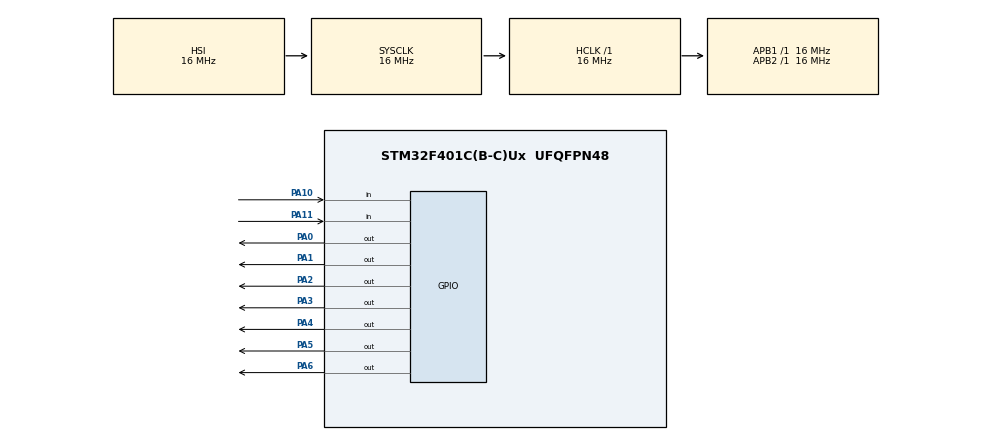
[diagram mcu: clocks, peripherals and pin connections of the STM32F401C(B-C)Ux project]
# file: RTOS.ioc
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FREERTOS.Tasks01=defaultTask,25,128,StartDefaultTask,Default,NULL,Dynamic,NULL,NULL;myTask02,32,128,StartTask02,Default,NULL,Dynamic,NULL,NULL
Mcu.Family=STM32F4
Mcu.Name=STM32F401C(B-C)Ux
Mcu.Package=UFQFPN48
NVIC.PriorityGroup=NVIC_PRIORITYGROUP_4
PA0-WKUP.GPIO_PuPd=GPIO_PULLDOWN
PA0-WKUP.Signal=GPIO_Output
PA1.GPIO_PuPd=GPIO_PULLDOWN
PA1.Signal=GPIO_Output
PA10.GPIO_PuPd=GPIO_PULLDOWN
PA10.Signal=GPIO_Input
PA11.GPIO_PuPd=GPIO_PULLDOWN
PA11.Signal=GPIO_Input
PA2.GPIO_PuPd=GPIO_PULLUP
PA2.Signal=GPIO_Output
PA3.GPIO_PuPd=GPIO_PULLDOWN
PA3.Signal=GPIO_Output
PA4.GPIO_PuPd=GPIO_PULLDOWN
PA4.Signal=GPIO_Output
PA5.GPIO_PuPd=GPIO_PULLDOWN
PA5.Signal=GPIO_Output
PA6.GPIO_PuPd=GPIO_PULLDOWN
PA6.Signal=GPIO_Output
ProjectManager.HeapSize=0x200
ProjectManager.StackSize=0x400
ProjectManager.TargetToolchain=STM32CubeIDE
RCC.AHBFreq_Value=16000000
RCC.APB1Freq_Value=16000000
RCC.APB2Freq_Value=16000000
RCC.CortexFreq_Value=16000000
RCC.HSE_VALUE=25000000
RCC.HSI_VALUE=16000000
RCC.LSE_VALUE=32768
RCC.SYSCLKFreq_VALUE=16000000
RCC.VCOOutputFreq_Value=192000000
VP_FREERTOS_VS_CMSIS_V2.Mode=CMSIS_V2
board=custom

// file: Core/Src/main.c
/* USER CODE BEGIN Header */
/**
  ******************************************************************************
  * @file           : main.c
  * @brief          : Main program body
  ******************************************************************************
  * @attention
  *
  * Copyright (c) 2025 STMicroelectronics.
  * All rights reserved.
  *
  * This software is licensed under terms that can be found in the LICENSE file
  * in the root directory of this software component.
  * If no LICENSE file comes with this software, it is provided AS-IS.
  *
  ******************************************************************************
  */
/* USER CODE END Header */
#include "main.h"
#include "cmsis_os.h"

/* Definitions for defaultTask */
osThreadId_t defaultTaskHandle;
const osThreadAttr_t defaultTask_attributes = {
  .name = "defaultTask",
  .stack_size = 128 * 4,
  .priority = (osPriority_t) osPriorityNormal1,
};
/* Definitions for myTask02 */
osThreadId_t myTask02Handle;
const osThreadAttr_t myTask02_attributes = {
  .name = "myTask02",
  .stack_size = 128 * 4,
  .priority = (osPriority_t) osPriorityAboveNormal,
};

void SystemClock_Config(void);
static void MX_GPIO_Init(void);
void StartDefaultTask(void *argument);
void StartTask02(void *argument);

int main(void)
{

  /* MCU Configuration--------------------------------------------------------*/

  /* Reset of all peripherals, Initializes the Flash interface and the Systick. */
  HAL_Init();

  /* Configure the system clock */
  SystemClock_Config();

  /* Initialize all configured peripherals */
  MX_GPIO_Init();

  /* Init scheduler */
  osKernelInitialize();

  /* Create the thread(s) */
  /* creation of defaultTask */
  defaultTaskHandle = osThreadNew(StartDefaultTask, NULL, &defaultTask_attributes);

  /* creation of myTask02 */
  myTask02Handle = osThreadNew(StartTask02, NULL, &myTask02_attributes);

  /* Start scheduler */
  osKernelStart();

  /* We should never get here as control is now taken by the scheduler */

  /* Infinite loop */
  while (1)
  {

  }
}

void SystemClock_Config(void)
{
  RCC_OscInitTypeDef RCC_OscInitStruct = {0};
  RCC_ClkInitTypeDef RCC_ClkInitStruct = {0};

  /** Configure the main internal regulator output voltage
  */
  __HAL_RCC_PWR_CLK_ENABLE();
  __HAL_PWR_VOLTAGESCALING_CONFIG(PWR_REGULATOR_VOLTAGE_SCALE2);

  /** Initializes the RCC Oscillators according to the specified parameters
  * in the RCC_OscInitTypeDef structure.
  */
  RCC_OscInitStruct.OscillatorType = RCC_OSCILLATORTYPE_HSI;
  RCC_OscInitStruct.HSIState = RCC_HSI_ON;
  RCC_OscInitStruct.HSICalibrationValue = RCC_HSICALIBRATION_DEFAULT;
  RCC_OscInitStruct.PLL.PLLState = RCC_PLL_NONE;
  if (HAL_RCC_OscConfig(&RCC_OscInitStruct) != HAL_OK)
  {
    Error_Handler();
  }

  /** Initializes the CPU, AHB and APB buses clocks
  */
  RCC_ClkInitStruct.ClockType = RCC_CLOCKTYPE_HCLK|RCC_CLOCKTYPE_SYSCLK
                              |RCC_CLOCKTYPE_PCLK1|RCC_CLOCKTYPE_PCLK2;
  RCC_ClkInitStruct.SYSCLKSource = RCC_SYSCLKSOURCE_HSI;
  RCC_ClkInitStruct.AHBCLKDivider = RCC_SYSCLK_DIV1;
  RCC_ClkInitStruct.APB1CLKDivider = RCC_HCLK_DIV1;
  RCC_ClkInitStruct.APB2CLKDivider = RCC_HCLK_DIV1;

  if (HAL_RCC_ClockConfig(&RCC_ClkInitStruct, FLASH_LATENCY_0) != HAL_OK)
  {
    Error_Handler();
  }
}

static void MX_GPIO_Init(void)
{
  GPIO_InitTypeDef GPIO_InitStruct = {0};

  /* GPIO Ports Clock Enable */
  __HAL_RCC_GPIOA_CLK_ENABLE();

  /*Configure GPIO pin Output Level */
  HAL_GPIO_WritePin(GPIOA, GPIO_PIN_0|GPIO_PIN_1|GPIO_PIN_2|GPIO_PIN_3
                          |GPIO_PIN_4|GPIO_PIN_5|GPIO_PIN_6, GPIO_PIN_RESET);

  /*Configure GPIO pins : PA0 PA1 PA3 PA4
                           PA5 PA6 */
  GPIO_InitStruct.Pin = GPIO_PIN_0|GPIO_PIN_1|GPIO_PIN_3|GPIO_PIN_4
                          |GPIO_PIN_5|GPIO_PIN_6;
  GPIO_InitStruct.Mode = GPIO_MODE_OUTPUT_PP;
  GPIO_InitStruct.Pull = GPIO_PULLDOWN;
  GPIO_InitStruct.Speed = GPIO_SPEED_FREQ_LOW;
  HAL_GPIO_Init(GPIOA, &GPIO_InitStruct);

  /*Configure GPIO pin : PA2 */
  GPIO_InitStruct.Pin = GPIO_PIN_2;
  GPIO_InitStruct.Mode = GPIO_MODE_OUTPUT_PP;
  GPIO_InitStruct.Pull = GPIO_PULLUP;
  GPIO_InitStruct.Speed = GPIO_SPEED_FREQ_LOW;
  HAL_GPIO_Init(GPIOA, &GPIO_InitStruct);

  /*Configure GPIO pins : PA10 PA11 */
  GPIO_InitStruct.Pin = GPIO_PIN_10|GPIO_PIN_11;
  GPIO_InitStruct.Mode = GPIO_MODE_INPUT;
  GPIO_InitStruct.Pull = GPIO_PULLDOWN;
  HAL_GPIO_Init(GPIOA, &GPIO_InitStruct);

}

/* USER CODE BEGIN Header_StartDefaultTask */
/**
  * @brief  Function implementing the defaultTask thread.
  * @param  argument: Not used
  * @retval None
  */
volatile int y = 0;
/* USER CODE END Header_StartDefaultTask */
void StartDefaultTask(void *argument)
{
  /* USER CODE BEGIN 5 */
  /* Infinite loop */
	// Segment order: A, B, C, D, E, F, G, DP (adjust pins to match your wiring)
	const uint8_t digitPatterns[10] = {
	    ~0b00111111, // 0 (segments A-F ON)
	    ~0b00000110, // 1 (segments B, C ON)
	    ~0b01011011, // 2 (segments A, B, G, E, D ON)
	    ~0b01001111, // 3 (segments A, B, G, C, D ON)
	    ~0b01100110, // 4 (segments F, G, B, C ON)
	    ~0b01101101, // 5 (segments A, F, G, C, D ON)
	    ~0b01111101, // 6 (segments A, F, G, E, C, D ON)
	    ~0b00000111, // 7 (segments A, B, C ON)
	    ~0b01111111, // 8 (all segments ON)
	    ~0b01101111  // 9 (segments A, B, C, D, F, G ON)
	};

	for ( y = 0; ; y++) {
	        int x = y % 10;
	        uint8_t pattern = digitPatterns[x];

	        // Update all segments (A-G + DP)
	        HAL_GPIO_WritePin(GPIOA, GPIO_PIN_0, (pattern & (1 << 0)) ? GPIO_PIN_SET : GPIO_PIN_RESET); // A
	        HAL_GPIO_WritePin(GPIOA, GPIO_PIN_1, (pattern & (1 << 1)) ? GPIO_PIN_SET : GPIO_PIN_RESET); // B
	        HAL_GPIO_WritePin(GPIOA, GPIO_PIN_2, (pattern & (1 << 2)) ? GPIO_PIN_SET : GPIO_PIN_RESET); // C
	        HAL_GPIO_WritePin(GPIOA, GPIO_PIN_3, (pattern & (1 << 3)) ? GPIO_PIN_SET : GPIO_PIN_RESET); // D
	        HAL_GPIO_WritePin(GPIOA, GPIO_PIN_4, (pattern & (1 << 4)) ? GPIO_PIN_SET : GPIO_PIN_RESET); // E
	        HAL_GPIO_WritePin(GPIOA, GPIO_PIN_5, (pattern & (1 << 5)) ? GPIO_PIN_SET : GPIO_PIN_RESET); // F
	        HAL_GPIO_WritePin(GPIOA, GPIO_PIN_6, (pattern & (1 << 6)) ? GPIO_PIN_SET : GPIO_PIN_RESET); // G

	        osDelay(1000);  // Update every 1 second
	    }
	}
  /* USER CODE END 5 */

void StartTask02(void *argument)
{
  /* USER CODE BEGIN StartTask02 */
  /* Infinite loop */
  for(;;)
  {
	  if(HAL_GPIO_ReadPin(GPIOA,GPIO_PIN_11)){
		  y =9;
	  }
    osDelay(1);
  }
  /* USER CODE END StartTask02 */
}

void Error_Handler(void)
{
  __disable_irq();
  while (1)
  {
  }
}
